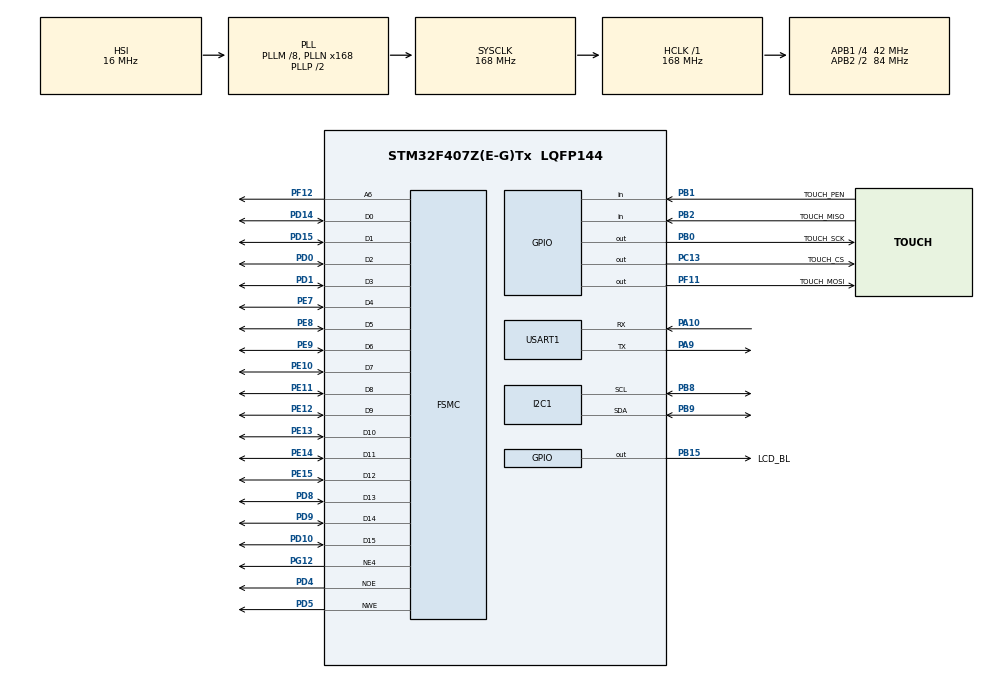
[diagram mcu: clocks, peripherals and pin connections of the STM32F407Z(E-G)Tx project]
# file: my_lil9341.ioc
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FSMC.BusTurnAroundDuration1=0
FSMC.DataSetupTime1=60
FSMC.ExtendedAddressSetupTime1=9
FSMC.ExtendedBusTurnAroundDuration1=0
FSMC.ExtendedDataSetupTime1=8
FSMC.ExtendedMode1=FSMC_EXTENDED_MODE_ENABLE
Mcu.Family=STM32F4
Mcu.Name=STM32F407Z(E-G)Tx
Mcu.Package=LQFP144
NVIC.PriorityGroup=NVIC_PRIORITYGROUP_4
PA10.Mode=Asynchronous
PA10.Signal=USART1_RX
PA13.Mode=Serial_Wire
PA13.Signal=SYS_JTMS-SWDIO
PA14.Mode=Serial_Wire
PA14.Signal=SYS_JTCK-SWCLK
PA9.Mode=Asynchronous
PA9.Signal=USART1_TX
PB0.GPIO_Label=TOUCH_SCK
PB0.Signal=GPIO_Output
PB1.GPIO_Label=TOUCH_PEN
PB1.Signal=GPIO_Input
PB15.GPIO_Label=LCD_BL
PB15.GPIO_PuPd=GPIO_PULLUP
PB15.GPIO_Speed=GPIO_SPEED_FREQ_HIGH
PB15.Signal=GPIO_Output
PB2.GPIO_Label=TOUCH_MISO
PB2.Signal=GPIO_Input
PB8.Mode=I2C
PB8.Signal=I2C1_SCL
PB9.Mode=I2C
PB9.Signal=I2C1_SDA
PC13-ANTI_TAMP.GPIO_Label=TOUCH_CS
PC13-ANTI_TAMP.Signal=GPIO_Output
PD0.Signal=FSMC_D2_DA2
PD1.Signal=FSMC_D3_DA3
PD10.Signal=FSMC_D15_DA15
PD14.Signal=FSMC_D0_DA0
PD15.Signal=FSMC_D1_DA1
PD4.Signal=FSMC_NOE
PD5.Signal=FSMC_NWE
PD8.Signal=FSMC_D13_DA13
PD9.Signal=FSMC_D14_DA14
PE10.Signal=FSMC_D7_DA7
PE11.Signal=FSMC_D8_DA8
PE12.Signal=FSMC_D9_DA9
PE13.Signal=FSMC_D10_DA10
PE14.Signal=FSMC_D11_DA11
PE15.Signal=FSMC_D12_DA12
PE7.Signal=FSMC_D4_DA4
PE8.Signal=FSMC_D5_DA5
PE9.Signal=FSMC_D6_DA6
PF11.GPIO_Label=TOUCH_MOSI
PF11.Signal=GPIO_Output
PF12.Signal=FSMC_A6
PG12.Mode=NorPsramChipSelect4_1
PG12.Signal=FSMC_NE4
PH0-OSC_IN.Mode=HSE-External-Oscillator
PH0-OSC_IN.Signal=RCC_OSC_IN
PH1-OSC_OUT.Mode=HSE-External-Oscillator
PH1-OSC_OUT.Signal=RCC_OSC_OUT
ProjectManager.HeapSize=0x200
ProjectManager.StackSize=0x400
ProjectManager.TargetToolchain=SW4STM32
RCC.48MHZClocksFreq_Value=84000000
RCC.AHBFreq_Value=168000000
RCC.APB1CLKDivider=RCC_HCLK_DIV4
RCC.APB1Freq_Value=42000000
RCC.APB1TimFreq_Value=84000000
RCC.APB2CLKDivider=RCC_HCLK_DIV2
RCC.APB2Freq_Value=84000000
RCC.APB2TimFreq_Value=168000000
RCC.CortexFreq_Value=168000000
RCC.HCLKFreq_Value=168000000
RCC.HSE_VALUE=25000000
RCC.HSI_VALUE=16000000
RCC.LSE_VALUE=32768
RCC.PLLM=8
RCC.PLLN=168
RCC.SYSCLKFreq_VALUE=168000000
RCC.SYSCLKSource=RCC_SYSCLKSOURCE_PLLCLK
RCC.VCOOutputFreq_Value=336000000
SH.FSMC_A6.0=FSMC_A6,A6_1
SH.FSMC_D0_DA0.0=FSMC_D0,16b-d1
SH.FSMC_D10_DA10.0=FSMC_D10,16b-d1
SH.FSMC_D11_DA11.0=FSMC_D11,16b-d1
SH.FSMC_D12_DA12.0=FSMC_D12,16b-d1
SH.FSMC_D13_DA13.0=FSMC_D13,16b-d1
SH.FSMC_D14_DA14.0=FSMC_D14,16b-d1
SH.FSMC_D15_DA15.0=FSMC_D15,16b-d1
SH.FSMC_D1_DA1.0=FSMC_D1,16b-d1
SH.FSMC_D2_DA2.0=FSMC_D2,16b-d1
SH.FSMC_D3_DA3.0=FSMC_D3,16b-d1
SH.FSMC_D4_DA4.0=FSMC_D4,16b-d1
SH.FSMC_D5_DA5.0=FSMC_D5,16b-d1
SH.FSMC_D6_DA6.0=FSMC_D6,16b-d1
SH.FSMC_D7_DA7.0=FSMC_D7,16b-d1
SH.FSMC_D8_DA8.0=FSMC_D8,16b-d1
SH.FSMC_D9_DA9.0=FSMC_D9,16b-d1
SH.FSMC_NOE.0=FSMC_NOE,Lcd1
SH.FSMC_NWE.0=FSMC_NWE,Lcd1
USART1.VirtualMode=VM_ASYNC
board=custom

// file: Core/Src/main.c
/* USER CODE BEGIN Header */
/**
  ******************************************************************************
  * @file           : main.c
  * @brief          : Main program body
  ******************************************************************************
  * @attention
  *
  * <h2><center>&copy; Copyright (c) 2021 STMicroelectronics.
  * All rights reserved.</center></h2>
  *
  * This software component is licensed by ST under BSD 3-Clause license,
  * the "License"; You may not use this file except in compliance with the
  * License. You may obtain a copy of the License at:
  *                        opensource.org/licenses/BSD-3-Clause
  *
  ******************************************************************************
  */
/* USER CODE END Header */
#include "main.h"
#include "i2c.h"
#include "usart.h"
#include "gpio.h"
#include "fsmc.h"

/* USER CODE BEGIN Includes */
#include "ILI93xx.h"
#include "touch.h"
//#include "lvgl.h"
#include "lv_port_disp.h"
#include "lv_port_indev.h"

#include <gui_guider.h>
#include <events_init.h>
/* USER CODE END Includes */

/* USER CODE BEGIN PTD */
int __io_putchar(int ch) {
    uint8_t temp[1] = {ch};
    HAL_UART_Transmit(&huart1, temp, 1, 0xff);
    return (ch);
}
/* USER CODE END PTD */

/* USER CODE BEGIN PD */

lv_ui guider_ui;
/* USER CODE END PD */

void SystemClock_Config(void);

static void lv_ex_label_1(void)
{
    lv_obj_t * label2 = lv_label_create(lv_scr_act(), NULL);
    lv_label_set_recolor(label2, true);
    lv_label_set_long_mode(label2, LV_LABEL_LONG_SROLL_CIRC); /*Circular scroll*/
    lv_obj_set_width(label2, 240);
    // Hello world ! Trisuborn.
    lv_label_set_text(label2, "#ff0000 FGK SB666# #00ff00FGK SB666 # FGK SB666# # FGK SB666#FGK SB666# FGK SB666#");
    lv_obj_align(label2, NULL, LV_ALIGN_CENTER, 0, 152);
}

#pragma clang diagnostic push
#pragma ide diagnostic ignored "EndlessLoop"

int main(void) {

    /* MCU Configuration--------------------------------------------------------*/

    /* Reset of all peripherals, Initializes the Flash interface and the Systick. */
    HAL_Init();

    /* Configure the system clock */
    SystemClock_Config();

    /* Initialize all configured peripherals */
    MX_GPIO_Init();
    MX_FSMC_Init();
    MX_USART1_UART_Init();
    MX_I2C1_Init();
    /* USER CODE BEGIN 2 */
    TFTLCD_Init();
    TP_Init();
    lv_init();
    lv_port_disp_init();        // 显示器初始化
    lv_port_indev_init();       // 输入设备初始化（如果没有实现就注释掉）
    setup_ui(&guider_ui);
    events_init(&guider_ui);
//    lv_port_fs_init();          // 文件系统设备初始化（如果没有实现就注释掉）
////    LCD_Clear(GREEN);
//
   // LCD_ShowImage(10,10,130,130,touxiang_map);
    uint16_t x;
    uint16_t y;
   // lv_ex_label_1();
    /* USER CODE END 2 */

    /* Infinite loop */
    while (1) {
        /* USER CODE BEGIN 3 */
        lv_tick_inc(5);
        lv_task_handler();
        HAL_Delay(5);	// 可以省略，lvgl并不是OS的真正任务
    }
    /* USER CODE END 3 */
}

#pragma clang diagnostic pop

void SystemClock_Config(void) {
    RCC_OscInitTypeDef RCC_OscInitStruct = {0};
    RCC_ClkInitTypeDef RCC_ClkInitStruct = {0};

    /** Configure the main internal regulator output voltage
    */
    __HAL_RCC_PWR_CLK_ENABLE();
    __HAL_PWR_VOLTAGESCALING_CONFIG(PWR_REGULATOR_VOLTAGE_SCALE1);
    /** Initializes the RCC Oscillators according to the specified parameters
    * in the RCC_OscInitTypeDef structure.
    */
    RCC_OscInitStruct.OscillatorType = RCC_OSCILLATORTYPE_HSI;
    RCC_OscInitStruct.HSIState = RCC_HSI_ON;
    RCC_OscInitStruct.HSICalibrationValue = RCC_HSICALIBRATION_DEFAULT;
    RCC_OscInitStruct.PLL.PLLState = RCC_PLL_ON;
    RCC_OscInitStruct.PLL.PLLSource = RCC_PLLSOURCE_HSI;
    RCC_OscInitStruct.PLL.PLLM = 8;
    RCC_OscInitStruct.PLL.PLLN = 168;
    RCC_OscInitStruct.PLL.PLLP = RCC_PLLP_DIV2;
    RCC_OscInitStruct.PLL.PLLQ = 4;
    if (HAL_RCC_OscConfig(&RCC_OscInitStruct) != HAL_OK) {
        Error_Handler();
    }
    /** Initializes the CPU, AHB and APB buses clocks
    */
    RCC_ClkInitStruct.ClockType = RCC_CLOCKTYPE_HCLK | RCC_CLOCKTYPE_SYSCLK
                                  | RCC_CLOCKTYPE_PCLK1 | RCC_CLOCKTYPE_PCLK2;
    RCC_ClkInitStruct.SYSCLKSource = RCC_SYSCLKSOURCE_PLLCLK;
    RCC_ClkInitStruct.AHBCLKDivider = RCC_SYSCLK_DIV1;
    RCC_ClkInitStruct.APB1CLKDivider = RCC_HCLK_DIV4;
    RCC_ClkInitStruct.APB2CLKDivider = RCC_HCLK_DIV2;

    if (HAL_RCC_ClockConfig(&RCC_ClkInitStruct, FLASH_LATENCY_5) != HAL_OK) {
        Error_Handler();
    }
}

void Error_Handler(void) {
    __disable_irq();
    while (1) {
    }
}

/************************ (C) COPYRIGHT STMicroelectronics *****END OF FILE****/
